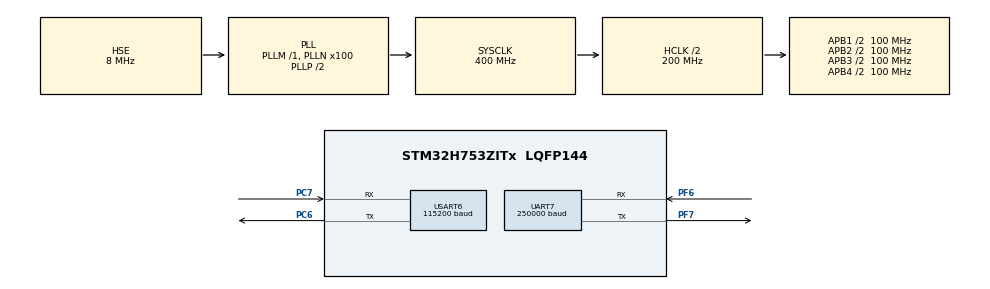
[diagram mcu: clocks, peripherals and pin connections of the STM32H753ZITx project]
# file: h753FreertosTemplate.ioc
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CORTEX_M7.AccessPermission_S-Cortex_Memory_Protection_Unit_Region1_Settings_S=MPU_REGION_FULL_ACCESS
CORTEX_M7.AccessPermission_S-Cortex_Memory_Protection_Unit_Region2_Settings_S=MPU_REGION_FULL_ACCESS
CORTEX_M7.AccessPermission_S-Cortex_Memory_Protection_Unit_Region3_Settings_S=MPU_REGION_FULL_ACCESS
CORTEX_M7.AccessPermission_S-Cortex_Memory_Protection_Unit_Region4_Settings_S=MPU_REGION_FULL_ACCESS
CORTEX_M7.AccessPermission_Spec=MPU_REGION_FULL_ACCESS
CORTEX_M7.BaseAddress_S-Cortex_Memory_Protection_Unit_Region1_Settings_S=0x30000000
CORTEX_M7.BaseAddress_S-Cortex_Memory_Protection_Unit_Region2_Settings_S=0x30020000
CORTEX_M7.BaseAddress_S-Cortex_Memory_Protection_Unit_Region3_Settings_S=0x30040000
CORTEX_M7.BaseAddress_S-Cortex_Memory_Protection_Unit_Region4_Settings_S=0x38000000
CORTEX_M7.BaseAddress_Spec=0x24000000
CORTEX_M7.CPU_DCache=Enabled
CORTEX_M7.CPU_ICache=Enabled
CORTEX_M7.DisableExec_Spec=MPU_INSTRUCTION_ACCESS_ENABLE
CORTEX_M7.Enable_S-Cortex_Memory_Protection_Unit_Region1_Settings_S=MPU_REGION_ENABLE
CORTEX_M7.Enable_S-Cortex_Memory_Protection_Unit_Region2_Settings_S=MPU_REGION_ENABLE
CORTEX_M7.Enable_S-Cortex_Memory_Protection_Unit_Region3_Settings_S=MPU_REGION_ENABLE
CORTEX_M7.Enable_S-Cortex_Memory_Protection_Unit_Region4_Settings_S=MPU_REGION_ENABLE
CORTEX_M7.IsBufferable_S-Cortex_Memory_Protection_Unit_Region1_Settings_S=MPU_ACCESS_NOT_BUFFERABLE
CORTEX_M7.IsBufferable_S-Cortex_Memory_Protection_Unit_Region2_Settings_S=MPU_ACCESS_NOT_BUFFERABLE
CORTEX_M7.IsBufferable_Spec=MPU_ACCESS_BUFFERABLE
CORTEX_M7.IsCacheable_S-Cortex_Memory_Protection_Unit_Region1_Settings_S=MPU_ACCESS_CACHEABLE
CORTEX_M7.IsCacheable_S-Cortex_Memory_Protection_Unit_Region2_Settings_S=MPU_ACCESS_CACHEABLE
CORTEX_M7.IsCacheable_S-Cortex_Memory_Protection_Unit_Region3_Settings_S=MPU_ACCESS_CACHEABLE
CORTEX_M7.IsCacheable_S-Cortex_Memory_Protection_Unit_Region4_Settings_S=MPU_ACCESS_CACHEABLE
CORTEX_M7.IsCacheable_Spec=MPU_ACCESS_CACHEABLE
CORTEX_M7.IsShareable_Spec=MPU_ACCESS_NOT_SHAREABLE
CORTEX_M7.Size_S-Cortex_Memory_Protection_Unit_Region1_Settings_S=MPU_REGION_SIZE_128KB
CORTEX_M7.Size_S-Cortex_Memory_Protection_Unit_Region2_Settings_S=MPU_REGION_SIZE_128KB
CORTEX_M7.Size_S-Cortex_Memory_Protection_Unit_Region3_Settings_S=MPU_REGION_SIZE_32KB
CORTEX_M7.Size_S-Cortex_Memory_Protection_Unit_Region4_Settings_S=MPU_REGION_SIZE_64KB
CORTEX_M7.Size_Spec=MPU_REGION_SIZE_512KB
CORTEX_M7.SubRegionDisable_Spec=0x00
CORTEX_M7.TypeExtField_S-Cortex_Memory_Protection_Unit_Region1_Settings_S=MPU_TEX_LEVEL0
CORTEX_M7.TypeExtField_S-Cortex_Memory_Protection_Unit_Region2_Settings_S=MPU_TEX_LEVEL0
CORTEX_M7.TypeExtField_Spec=MPU_TEX_LEVEL1
CORTEX_M7.default_mode_Activation=1
Dma.Request0=USART6_RX
Dma.Request1=USART6_TX
Dma.Request2=UART7_RX
Dma.Request3=UART7_TX
Dma.UART7_RX.2.Direction=DMA_PERIPH_TO_MEMORY
Dma.UART7_RX.2.EventEnable=DISABLE
Dma.UART7_RX.2.FIFOMode=DMA_FIFOMODE_DISABLE
Dma.UART7_RX.2.Instance=DMA1_Stream2
Dma.UART7_RX.2.MemDataAlignment=DMA_MDATAALIGN_BYTE
Dma.UART7_RX.2.MemInc=DMA_MINC_ENABLE
Dma.UART7_RX.2.Mode=DMA_CIRCULAR
Dma.UART7_RX.2.PeriphDataAlignment=DMA_PDATAALIGN_BYTE
Dma.UART7_RX.2.PeriphInc=DMA_PINC_DISABLE
Dma.UART7_RX.2.Polarity=HAL_DMAMUX_REQ_GEN_RISING
Dma.UART7_RX.2.Priority=DMA_PRIORITY_MEDIUM
Dma.UART7_RX.2.RequestNumber=1
Dma.UART7_RX.2.SignalID=NONE
Dma.UART7_RX.2.SyncEnable=DISABLE
Dma.UART7_RX.2.SyncPolarity=HAL_DMAMUX_SYNC_NO_EVENT
Dma.UART7_RX.2.SyncRequestNumber=1
Dma.UART7_RX.2.SyncSignalID=NONE
Dma.UART7_TX.3.Direction=DMA_MEMORY_TO_PERIPH
Dma.UART7_TX.3.EventEnable=DISABLE
Dma.UART7_TX.3.FIFOMode=DMA_FIFOMODE_DISABLE
Dma.UART7_TX.3.Instance=DMA1_Stream3
Dma.UART7_TX.3.MemDataAlignment=DMA_MDATAALIGN_BYTE
Dma.UART7_TX.3.MemInc=DMA_MINC_ENABLE
Dma.UART7_TX.3.Mode=DMA_NORMAL
Dma.UART7_TX.3.PeriphDataAlignment=DMA_PDATAALIGN_BYTE
Dma.UART7_TX.3.PeriphInc=DMA_PINC_DISABLE
Dma.UART7_TX.3.Polarity=HAL_DMAMUX_REQ_GEN_RISING
Dma.UART7_TX.3.Priority=DMA_PRIORITY_LOW
Dma.UART7_TX.3.RequestNumber=1
Dma.UART7_TX.3.SignalID=NONE
Dma.UART7_TX.3.SyncEnable=DISABLE
Dma.UART7_TX.3.SyncPolarity=HAL_DMAMUX_SYNC_NO_EVENT
Dma.UART7_TX.3.SyncRequestNumber=1
Dma.UART7_TX.3.SyncSignalID=NONE
Dma.USART6_RX.0.Direction=DMA_PERIPH_TO_MEMORY
Dma.USART6_RX.0.EventEnable=DISABLE
Dma.USART6_RX.0.FIFOMode=DMA_FIFOMODE_DISABLE
Dma.USART6_RX.0.Instance=DMA1_Stream0
Dma.USART6_RX.0.MemDataAlignment=DMA_MDATAALIGN_BYTE
Dma.USART6_RX.0.MemInc=DMA_MINC_ENABLE
Dma.USART6_RX.0.Mode=DMA_CIRCULAR
Dma.USART6_RX.0.PeriphDataAlignment=DMA_PDATAALIGN_BYTE
Dma.USART6_RX.0.PeriphInc=DMA_PINC_DISABLE
Dma.USART6_RX.0.Polarity=HAL_DMAMUX_REQ_GEN_RISING
Dma.USART6_RX.0.Priority=DMA_PRIORITY_MEDIUM
Dma.USART6_RX.0.RequestNumber=1
Dma.USART6_RX.0.SignalID=NONE
Dma.USART6_RX.0.SyncEnable=DISABLE
Dma.USART6_RX.0.SyncPolarity=HAL_DMAMUX_SYNC_NO_EVENT
Dma.USART6_RX.0.SyncRequestNumber=1
Dma.USART6_RX.0.SyncSignalID=NONE
Dma.USART6_TX.1.Direction=DMA_MEMORY_TO_PERIPH
Dma.USART6_TX.1.EventEnable=DISABLE
Dma.USART6_TX.1.FIFOMode=DMA_FIFOMODE_DISABLE
Dma.USART6_TX.1.Instance=DMA1_Stream1
Dma.USART6_TX.1.MemDataAlignment=DMA_MDATAALIGN_BYTE
Dma.USART6_TX.1.MemInc=DMA_MINC_ENABLE
Dma.USART6_TX.1.Mode=DMA_NORMAL
Dma.USART6_TX.1.PeriphDataAlignment=DMA_PDATAALIGN_BYTE
Dma.USART6_TX.1.PeriphInc=DMA_PINC_DISABLE
Dma.USART6_TX.1.Polarity=HAL_DMAMUX_REQ_GEN_RISING
Dma.USART6_TX.1.Priority=DMA_PRIORITY_LOW
Dma.USART6_TX.1.RequestNumber=1
Dma.USART6_TX.1.SignalID=NONE
Dma.USART6_TX.1.SyncEnable=DISABLE
Dma.USART6_TX.1.SyncPolarity=HAL_DMAMUX_SYNC_NO_EVENT
Dma.USART6_TX.1.SyncRequestNumber=1
Dma.USART6_TX.1.SyncSignalID=NONE
FREERTOS.INCLUDE_xEventGroupSetBitFromISR=1
FREERTOS.Tasks01=defaultTask,24,128,StartDefaultTask,Default,NULL,Dynamic,NULL,NULL
FREERTOS.configCHECK_FOR_STACK_OVERFLOW=1
FREERTOS.configGENERATE_RUN_TIME_STATS=1
FREERTOS.configLIBRARY_MAX_SYSCALL_INTERRUPT_PRIORITY=1
FREERTOS.configTIMER_QUEUE_LENGTH=20
FREERTOS.configTIMER_TASK_PRIORITY=5
FREERTOS.configUSE_STATS_FORMATTING_FUNCTIONS=1
Mcu.Family=STM32H7
Mcu.Name=STM32H753ZITx
Mcu.Package=LQFP144
NVIC.DMA1_Stream0_IRQn=true\:1\:0\:false\:false\:true\:true\:false\:true\:true
NVIC.DMA1_Stream1_IRQn=true\:1\:0\:false\:false\:true\:true\:false\:true\:true
NVIC.DMA1_Stream2_IRQn=true\:1\:0\:false\:false\:true\:true\:false\:true\:true
NVIC.DMA1_Stream3_IRQn=true\:1\:0\:false\:false\:true\:true\:false\:true\:true
NVIC.PriorityGroup=NVIC_PRIORITYGROUP_4
NVIC.TIM15_IRQn=true\:3\:0\:true\:false\:true\:true\:true\:true\:true
NVIC.TIM16_IRQn=true\:3\:0\:true\:false\:true\:true\:true\:true\:true
NVIC.TIM17_IRQn=true\:3\:0\:true\:false\:true\:true\:true\:true\:true
NVIC.TIM6_DAC_IRQn=true\:15\:0\:false\:false\:true\:false\:false\:true\:true
NVIC.TimeBase=TIM6_DAC_IRQn
NVIC.TimeBaseIP=TIM6
NVIC.UART7_IRQn=true\:1\:0\:false\:false\:true\:true\:true\:true\:true
NVIC.USART6_IRQn=true\:1\:0\:false\:false\:true\:true\:true\:true\:true
PC6.Mode=Asynchronous
PC6.Signal=USART6_TX
PC7.Mode=Asynchronous
PC7.Signal=USART6_RX
PF6.Mode=Asynchronous
PF6.Signal=UART7_RX
PF7.Mode=Asynchronous
PF7.Signal=UART7_TX
PH0-OSC_IN\ (PH0).Mode=HSE-External-Oscillator
PH0-OSC_IN\ (PH0).Signal=RCC_OSC_IN
PH1-OSC_OUT\ (PH1).Mode=HSE-External-Oscillator
PH1-OSC_OUT\ (PH1).Signal=RCC_OSC_OUT
ProjectManager.HeapSize=0x200
ProjectManager.StackSize=0x400
ProjectManager.TargetToolchain=EWARM V8.50
RCC.ADCFreq_Value=16125000
RCC.APB1Freq_Value=100000000
RCC.APB2Freq_Value=100000000
RCC.APB3Freq_Value=100000000
RCC.APB4Freq_Value=100000000
RCC.CortexFreq_Value=400000000
RCC.D1PPRE=RCC_APB3_DIV2
RCC.D2PPRE1=RCC_APB1_DIV2
RCC.D2PPRE2=RCC_APB2_DIV2
RCC.D3PPRE=RCC_APB4_DIV2
RCC.DIVM1=1
RCC.DIVN1=100
RCC.HCLKFreq_Value=200000000
RCC.HPRE=RCC_HCLK_DIV2
RCC.HSE_VALUE=8000000
RCC.PLLFRACN=0
RCC.PLLSourceVirtual=RCC_PLLSOURCE_HSE
RCC.SYSCLKFreq_VALUE=400000000
RCC.SYSCLKSource=RCC_SYSCLKSOURCE_PLLCLK
RCC.USBFreq_Value=400000000
TIM15.Period=5000
TIM15.Prescaler=100
TIM16.Period=5000
TIM16.Prescaler=100
TIM17.Period=5000
TIM17.Prescaler=100
UART7.BaudRate=250000
UART7.StopBits=UART_STOPBITS_2
USART6.BaudRate=115200
USART6.VirtualMode-Asynchronous=VM_ASYNC
VP_FREERTOS_VS_CMSIS_V2.Mode=CMSIS_V2
VP_MEMORYMAP_VS_MEMORYMAP.Mode=CurAppReg
VP_SYS_VS_tim6.Mode=TIM6
VP_TIM15_VS_ClockSourceINT.Mode=Internal
VP_TIM16_VS_ClockSourceINT.Mode=Enable_Timer
VP_TIM17_VS_ClockSourceINT.Mode=Enable_Timer
board=custom

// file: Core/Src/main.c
/* USER CODE BEGIN Header */
/**
  ******************************************************************************
  * @file           : main.c
  * @brief          : Main program body
  ******************************************************************************
  * @attention
  *
  * Copyright (c) 2024 STMicroelectronics.
  * All rights reserved.
  *
  * This software is licensed under terms that can be found in the LICENSE file
  * in the root directory of this software component.
  * If no LICENSE file comes with this software, it is provided AS-IS.
  *
  ******************************************************************************
  */
/* USER CODE END Header */
#include "main.h"
#include "cmsis_os.h"
#include "dma.h"
#include "memorymap.h"
#include "tim.h"
#include "usart.h"
#include "gpio.h"

/* USER CODE BEGIN Includes */
#include "FreeRTOS.h"
#include "task.h"
#include "stm32h7xx_nucleo.h"
#include "croutine.h"
#include "timerForDebug.h"
#include "iwdg.h"
#include "wwdg.h"
#include "delay.h"
#include "rtc_timeStamp.h"
#include "bootLoader.h"
#include "cpu_flash.h"
#include "queue.h"
#include "stm32h7xx.h"
#include "event_groups.h"
#include "semphr.h"
#include <string.h>
#include <stdio.h>
/* USER CODE END Includes */

/* USER CODE BEGIN PTD */
/* 定义�?512KB AXI SRAM里面的变�? */
#pragma location = ".RAM_D1"
uint32_t AXISRAMBuf[10];
#pragma location = ".RAM_D1"
uint16_t AXISRAMCount;

/* 定义�?128KB SRAM1(0x30000000) + 128KB SRAM2(0x30020000) + 32KB SRAM3(0x30040000)里面的变�? */
#pragma location = ".RAM_D2"
uint32_t D2SRAMBuf[10];
#pragma location = ".RAM_D2"
uint16_t D2SRAMCount;

/* 定义�?64KB SRAM4(0x38000000)里面的变�? */
#pragma location = ".RAM_D3"
uint32_t D3SRAMBuf[10];
#pragma location = ".RAM_D3"
uint16_t D3SRAMCount;

#pragma location = ".RAM_BKP"
uint32_t BKPSRAMBuf[10];
#pragma location = ".RAM_BKP"
uint16_t BKPSRAMCount;

/*
   1、将�?个扇区的空间预留出来做为参数区，这里是将�?2个扇区作为参数区�?
      默认情况下不要将�?1个扇区做参数区，因为�?1个扇区是默认的boot启动地址�?
   2、�?�过这种定义方式告诉编译器，此空间已经被占用，不让编译器再为这个空间编写程序�?
*/
#pragma location=0x08000000 + 128*1024
const uint8_t para_flash_area[128 * 1024];
/* USER CODE END PTD */

/* USER CODE BEGIN PM */
extern IWDG_HandleTypeDef IwdgHandle;
extern WWDG_HandleTypeDef   WwdgHandle;
extern uint32_t wwdgDelayNum;
/* USER CODE END PM */

/* USER CODE BEGIN PV */
typedef struct
{
  uint8_t ParamVer;
  uint16_t ucBackLight;
  uint32_t Baud485;
  float ucRadioMode;
}PARAM_T;
/* USER CODE END PV */

void SystemClock_Config(void);
static void MPU_Config(void);
void MX_FREERTOS_Init(void);
/* USER CODE BEGIN PFP */
static void vTaskTaskUserIF(void *pvParameters);
static void vTaskLED(void *pvParameters);
static void vTaskMsgPro(void *pvParameters);
static void vTaskStart(void *pvParameters);
static void AppTaskCreate (void);
static void vTaskIwdg(void *pvParameters);
static void vTaskWwdg(void *pvParameters);
//static void vTaskMsgPro2(void *pvParameters);

static TaskHandle_t xHandleTaskUserIF = NULL;
static TaskHandle_t xHandleTaskLED = NULL;
static TaskHandle_t xHandleTaskMsgPro = NULL;
static TaskHandle_t xHandleTaskStart = NULL;
static TaskHandle_t xHandleTaskIwdg = NULL;
static TaskHandle_t xHandleTaskWwdg = NULL;
//static TaskHandle_t xHandleTaskMsgPro2 = NULL;

static EventGroupHandle_t xHandleEventGroup;

static QueueHandle_t xQueue1 = NULL;
static QueueHandle_t xQueue2 = NULL;
static QueueHandle_t xQueue3 = NULL;

static SemaphoreHandle_t xHandleSemaphoreCounting = NULL;
static SemaphoreHandle_t xHandleSemaphoreBinary = NULL;
static SemaphoreHandle_t xHandleSemaphoreMutex = NULL;

typedef struct Msg
{
  uint8_t ucMessageID;
  uint16_t usData[2];
  uint32_t ulData[2];
}MSG_T;

MSG_T   g_tMsg;

uint32_t UserButtonStatus = 0;  /* set to 1 after User Button interrupt  */

TimerHandle_t xTimers[2];
/* USER CODE END PFP */

/* USER CODE BEGIN 0 */

static void vTimerCallback(xTimerHandle pxTimer)
{
    uint32_t ulTimerID;

    ulTimerID = (uint32_t)pvTimerGetTimerID(pxTimer);

    if(ulTimerID == 0)
    {
      //printf("software timer 0\r\n");
    }

    if(ulTimerID == 1)
    {
      //printf("software timer 1\r\n");
    }
}

static void AppObjCreate(void)
{
  /*用于测试动态内存分配的消息队列*/
  xQueue3 = xQueueCreate(10, sizeof(struct Msg *));
  if(xQueue3 == NULL)
  {
    printf("create xQueue3 failed\r\n");
  }
  else
  {
    printf("create xQueue3 success\r\n");
  }

  /*初始化1个信号量可用资源*/
  xHandleSemaphoreCounting = xSemaphoreCreateCounting(1,0);

  /*创建二值信号量*/
  xHandleSemaphoreBinary = xSemaphoreCreateBinary();

  /*创建互斥锁*/
  xHandleSemaphoreMutex = xSemaphoreCreateMutex();

  if(xHandleSemaphoreCounting == NULL)
  {
    printf("create counting semaphore failed\r\n");
  }

  if(xHandleSemaphoreBinary == NULL)
  {
    printf("create binary semaphore failed\r\n");
  }
  else
  {
    /*先释放一次*/
    xSemaphoreGive(xHandleSemaphoreBinary);
  }

  if(xHandleSemaphoreMutex == NULL)
  {
    printf("create mutex semaphore failed\r\n");
  }

  /*创建10个uint8_t型的消息队列*/
  xQueue1 = xQueueCreate(10, sizeof(uint8_t));
  if(xQueue1 == NULL)
  {
    printf("create xQueue1 failed\r\n");
  }
  else
  {
    printf("create xQueue1 success\r\n");
  }
  /*创建10个存储指针变量的消息队列*/
  xQueue2 = xQueueCreate(10, sizeof(struct Msg *));
  if(xQueue2 == NULL)
  {
    printf("create xQueue2 failed\r\n");
  }
  else
  {
    printf("create xQueue2 success\r\n");
  }
  /*创建软件定时器*/
  uint8_t i;
  const TickType_t xTimerPer[2] = {1000, 1000};

  for(i = 0; i < 2; i++)
  {
    xTimers[i] = xTimerCreate("Timer",                  /*定时器名字*/
                              xTimerPer[i],             /*定时器周期，单位时钟节拍*/
                              pdTRUE,                   /*周期性*/
                              (void *)i,                /*定时器ID*/
                              vTimerCallback);          /*定时器回调函数*/

    if(xTimers[i] == NULL)
    {
      printf("create software timer failed , ID = %d\r\n", i);
    }
    else
    {
      if(xTimerStart(xTimers[i], 100) != pdPASS)
      {
        printf("timer start failed, ID = %d\r\n", i);
      }
    }
  }
  /*创建事件标志组*/
  xHandleEventGroup = xEventGroupCreate();

  if(xHandleEventGroup == NULL)
  {
    /*事件标志组没有创建成功*/
    printf("xEventGroupCreate failed\r\n");
  }
}

/*
*********************************************************************************************************
* �? �? �?: vTaskTaskUserIF
* 功能说明: 接口消息处理，这里用�? LED 闪烁
* �? �?: pvParameters 是在创建该任务时传�?�的形参
* �? �? �?: �?
* �? �? �?: 1 (数�?�越小优先级越低，这个跟 uCOS 相反)
*********************************************************************************************************
*/
static void vTaskTaskUserIF(void *pvParameters)
{

  uint8_t pcWriteBuffer[500];
  EventBits_t uxBits;

  uint8_t ucCount = 0;

  MSG_T *ptMsg;

  ptMsg = &g_tMsg;
  ptMsg->ucMessageID = 0;
  ptMsg->ulData[0] = 0;
  ptMsg->usData[0] = 0;
  //uint8_t buff[2048];

  while(1)
  {

    if(UserButtonStatus == 1)
    {
      //UserButtonStatus = 0;
      //xSemaphoreTake(xHandleSemaphoreMutex, portMAX_DELAY);
      printf("============================================================\r\n");
      printf("TaskName TaskStatus Priority RemainStack TaskID\r\n");
      vTaskList((char *)pcWriteBuffer);
      printf("%s\r\n", pcWriteBuffer);

      printf("\r\nTaskName      RunCount       Usage\r\n");
      vTaskGetRunTimeStats((char *)pcWriteBuffer);
      printf("%s\r\n", pcWriteBuffer);

      RTC_CalendarShow();

      AXISRAMBuf[0] = AXISRAMCount++;
      AXISRAMBuf[5] = AXISRAMCount++;
      AXISRAMBuf[9] = AXISRAMCount++;
      printf("UserButtonStatus = 1, AXISRAMBuf[0] = %d, AXISRAMBuf[5] = %d, AXISRAMBuf[9] = %d\r\n",AXISRAMBuf[0], AXISRAMBuf[5], AXISRAMBuf[9]);
      //xSemaphoreGive(xHandleSemaphoreMutex);

    }
    else if(UserButtonStatus == 2)
    {
      //xSemaphoreTake(xHandleSemaphoreMutex, portMAX_DELAY);
      printf("UserButtonStatus = 2\r\ndelete led task\r\n");
      if(xHandleTaskLED != NULL)
      {
        vTaskDelete(xHandleTaskLED);
        xHandleTaskLED = NULL;
      }

      D2SRAMBuf[0] = D2SRAMCount++;
      D2SRAMBuf[5] = D2SRAMCount++;
      D2SRAMBuf[9] = D2SRAMCount++;
      printf("UserButtonStatus = 2, D2SRAMBuf[0] = %d, D2SRAMBuf[5] = %d, D2SRAMBuf[9] = %d\r\n",D2SRAMBuf[0], D2SRAMBuf[5], D2SRAMBuf[9]);

      printf("UserButtonStatus = 2, send semaphore to vTaskMsgPro\r\n");
      //xSemaphoreGive(xHandleSemaphoreMutex);
      xSemaphoreGive(xHandleSemaphoreCounting);
      printf("UserButtonStatus = 2, send MUTEX to vTaskStart\r\n");
      xTaskNotifyGive(xHandleTaskStart);
    }
    else if(UserButtonStatus == 3)
    {
      //xSemaphoreTake(xHandleSemaphoreMutex, portMAX_DELAY);
      printf("UserButtonStatus = 3\r\ncreate led task\r\n");
      if(xHandleTaskLED == NULL)
      {
        xTaskCreate(  vTaskLED,
                        "vTaskLED",
                        512,
                        NULL,
                        2,
                        &xHandleTaskLED);
      }
      D3SRAMBuf[0] = D3SRAMCount++;
      D3SRAMBuf[5] = D3SRAMCount++;
      D3SRAMBuf[9] = D3SRAMCount++;
      printf("UserButtonStatus = 3, D3SRAMBuf[0] = %d, D3SRAMBuf[5] = %d, D3SRAMBuf[9] = %d\r\n",D3SRAMBuf[0], D3SRAMBuf[5], D3SRAMBuf[9]);
      printf("***********************************************************************************\r\n");
      printf("UserButtonStatus = 3, send task notify give to xHandleTaskMsgPro\r\n");
      xTaskNotifyGive(xHandleTaskMsgPro);
      //xSemaphoreGive(xHandleSemaphoreMutex);
    }
    else if(UserButtonStatus == 4)
    {
      taskENTER_CRITICAL();
      printf("UserButtonStatus = 4\r\nsuspend led task\r\n");
      vTaskSuspend(xHandleTaskLED);
      BKPSRAMBuf[0] = BKPSRAMCount++;
      BKPSRAMBuf[5] = BKPSRAMCount++;
      BKPSRAMBuf[9] = BKPSRAMCount++;
      printf("UserButtonStatus = 3, BKPSRAMBuf[0] = %d, BKPSRAMBuf[5] = %d, BKPSRAMBuf[9] = %d\r\n",BKPSRAMBuf[0], BKPSRAMBuf[5], BKPSRAMBuf[9]);
      taskEXIT_CRITICAL();

    }
    else if(UserButtonStatus == 5)
    {
      printf("UserButtonStatus = 5\r\nresume led task\r\n");
      HAL_TIM_Base_Start_IT(&htim17);
      //vTaskResume(xHandleTaskLED);
    }
    else if(UserButtonStatus == 6)
    {
      /*
      uxBits = xEventGroupSetBits(xHandleEventGroup, SET_BIT_0);
      if((uxBits & SET_BIT_0) != 0)
      {
        printf("UserButtonStatus = 6, event group bit 0 was setted\r\n");
      }
      else
      {
        printf("UserButtonStatus = 6, event group bit 0 was not setted\r\n");
      }
      */
      //printf("UserButtonStatus = 6\r\nsuspend iwdg feed task\r\n");
      //vTaskSuspend(xHandleTaskIwdg);
    }
    else if(UserButtonStatus == 7)
    {
      /*
      uxBits = xEventGroupSetBits(xHandleEventGroup, SET_BIT_1);
      if((uxBits & SET_BIT_1) != 0)
      {
        printf("UserButtonStatus = 7, event group bit 1 was setted\r\n");
      }
      else
      {
        printf("UserButtonStatus = 7, event group bit 1 was not setted\r\n");
      }
      */
      vTaskResume(xHandleTaskStart);
      //printf("UserButtonStatus = 7\r\nresume iwdg feed task\r\n");
      //vTaskResume(xHandleTaskIwdg);
    }
    else if(UserButtonStatus == 8)
    {
      vTaskSuspendAll(); /*开启调度锁*/
      uxBits = xEventGroupSetBits(xHandleEventGroup, SET_BIT_0);
      if((uxBits & SET_BIT_0) != 0)
      {
        printf("UserButtonStatus = 8, event group bit 0 was setted\r\n");
      }
      else
      {
        printf("UserButtonStatus = 8, event group bit 0 was not setted\r\n");
      }
      uxBits = xEventGroupSetBits(xHandleEventGroup, SET_BIT_1);
      if((uxBits & SET_BIT_1) != 0)
      {
        printf("UserButtonStatus = 8, event group bit 1 was setted\r\n");
      }
      else
      {
        printf("UserButtonStatus = 8, event group bit 1 was not setted\r\n");
      }
      if(xTaskResumeAll() == pdTRUE) /*关闭调度锁，如果需要任务切换，此函数返回pdTRUE*/
      {
        taskYIELD();
      }
      //printf("UserButtonStatus = 8\r\nsuspend wwdg feed task\r\n");
      //vTaskSuspend(xHandleTaskWwdg);
    }
    else if(UserButtonStatus == 9)
    {
      ucCount++;
      if(xQueueSend(xQueue1,
                    (void *) &ucCount,
                    (TickType_t)10) != pdPASS)
      {
        /*发送失败*/
        printf("UserButtonStatus = 9, xQueue1Send ucCount failed\r\n");
      }
      else
      {
        printf("UserButtonStatus = 9, xQueue1Send ucCount success\r\n");
      }
      printf("UserButtonStatus = 9, set vTaskLED priority to 5\r\n");
      vTaskPrioritySet(xHandleTaskLED, 5);
      printf("vTaskLED priority is now setted to %d\r\n", (int)uxTaskPriorityGet(xHandleTaskLED));

      printf("UserButtonStatus = 9, start tim15 for sending event\r\n");
      printf("*********************************************************************\r\n");
      printf("UserButtonStatus = 9, start tim15 for sending semaphore\r\n");
      //printf("*********************************************************************\r\n");
      //printf("UserButtonStatus = 9, start tim15 for sending MUTEX\r\n");
      HAL_TIM_Base_Start_IT(&htim15);
      //printf("UserButtonStatus = 9\r\nresume wwdg feed task\r\n");
      //vTaskResume(xHandleTaskWwdg);
    }
    else if(UserButtonStatus == 10)
    {
      ptMsg->ucMessageID++;
      ptMsg->ulData[0]++;
      ptMsg->usData[0]++;

      if(xQueueSend(xQueue2,
                    (void *)&ptMsg,
                    (TickType_t)10) != pdPASS)
      {
        printf("UserButtonStatus = 10, xQueue2Send MSG_T failed\r\n");
      }
      else
      {
        printf("UserButtonStatus = 10, xQueue2Send MSG_T success\r\n");
      }
      printf("UserButtonStatus = 10, set vTaskLED priority to 1\r\n");
      vTaskPrioritySet(xHandleTaskLED, 1);
      printf("vTaskLED priority is now setted to %d\r\n", (int)uxTaskPriorityGet(xHandleTaskLED));

      printf("UserButtonStatus = 10, start tim16 for sending event\r\n");
      printf("*********************************************************************\r\n");
      printf("UserButtonStatus = 10, start tim6 for sending MUTEX\r\n");
      HAL_TIM_Base_Start_IT(&htim16);
    }
    else if(UserButtonStatus == 11)
    {
        printf("------------------------------------------------------------------\r\n");
        printf("UserButtonStatus = 11, set task notify event group bit 0\r\n");
        xTaskNotify(xHandleTaskWwdg, (1 << 0), eSetBits);

    }
    else if(UserButtonStatus == 12)
    {
        printf("------------------------------------------------------------------\r\n");
        printf("UserButtonStatus = 12, set task notify event group bit 1\r\n");
        xTaskNotify(xHandleTaskWwdg, (1 << 1), eSetBits);
    }
    else if(UserButtonStatus == 13)
    {
        /*按键中断发送BIT2的事件标志*/
    }
    else if(UserButtonStatus == 14)
    {
        ucCount++;
        printf("UserButtonStatus = 14, send task mail 'ucCount = %d' with overwrite to TaskIwdg\r\n", ucCount);
        xTaskNotify(xHandleTaskIwdg, ucCount, eSetValueWithOverwrite);
    }
    else if(UserButtonStatus == 15)
    {
        ucCount++;
        printf("UserButtonStatus = 15, send task mail 'ucCount = %d' without overwrite to TaskIwdg\r\n", ucCount);
        if(xTaskNotify(xHandleTaskIwdg, ucCount, eSetValueWithoutOverwrite) == pdPASS)
        {
          printf("vTaskIwdg message mail is updated\r\n");
        }
        else
        {
          printf("vTaskIwdg message mail can not be updated\r\n");
        }
    }
    else if(UserButtonStatus == 16)
    {
        /*按键中断发送消息邮箱 覆盖方式*/

    }
    else if(UserButtonStatus == 17)
    {
        /*按键中断发送消息邮箱 非覆盖方式*/
    }
    else if(UserButtonStatus == 18)
    {
      printf("current free heap size = %d\r\n", xPortGetFreeHeapSize());
      ptMsg = (MSG_T *)pvPortMalloc(sizeof(MSG_T));
      printf("free heap size after malloc = %d\r\n", xPortGetFreeHeapSize());

      ptMsg->ucMessageID = 88;
      ptMsg->ulData[0] = 89;
      ptMsg->usData[0] = 8;

      if(xQueueSend(xQueue3, (void *)&ptMsg, (TickType_t)10) != pdPASS)
      {
        printf("xQueue3 Sending failed\r\n");
        vPortFree(ptMsg);
        printf("free heap size after free = %d\r\n", xPortGetFreeHeapSize());
      }
      else
      {
        printf("xQueue3 Sending success\r\n");
        vPortFree(ptMsg);
        printf("free heap size after free = %d\r\n", xPortGetFreeHeapSize());
      }

    }
    else if(UserButtonStatus == 19)
    {
        printf("JumpToBootloader\r\n");
        JumpToBootLoader();
    }
    else
    {
      UserButtonStatus = 0;
      printf("UserButtonStatus reset to 0\r\n");
    }
    //xSemaphoreGive(xHandleSemaphoreMutex);
    vTaskSuspend(xHandleTaskUserIF);
    vTaskDelay(20);
  }
}

/*
*********************************************************************************************************
* �? �? �?: vTaskLED
* 功能说明: LED 闪烁
* �? �?: pvParameters 是在创建该任务时传�?�的形参
* �? �? �?: �?
* �? �? �?: 2
*********************************************************************************************************
*/
static void vTaskLED(void *pvParameters)
{
  MSG_T *ptMsg;
  BaseType_t xResult;
  const TickType_t xMaxBlockTime = pdMS_TO_TICKS(200);

  TickType_t xLastWakeTime;
  const TickType_t xFrequency = 1000;

  xLastWakeTime = xTaskGetTickCount();

  while(1)
  {
    //vTaskSuspendAll(); /*开启调度锁*/

    xResult = xQueueReceive(xQueue2,
                            (void *)&ptMsg,
                            (TickType_t)xMaxBlockTime);

    if(xResult == pdPASS)
    {
      //printf("msg queue receive success: ptMsg->ucMessageID = %d\r\n", ptMsg->ucMessageID);
      //printf("msg queue receive success: ptMsg->usData[0] = %d\r\n", ptMsg->usData[0]);
      //printf("msg queue receive success: ptMsg->ulData[0] = %d\r\n", ptMsg->ulData[0]);

    }
    else
    {
      //printf("receive queue2 msg failed\r\n");
    }

    xResult = xQueueReceive(xQueue2,
                            (void *)&ptMsg,
                            (TickType_t)xMaxBlockTime);

    if(xResult == pdPASS)
    {
      //printf("======================================================================================\r\n");
      //printf("msg queue receive success: ptMsg->ucMessageID = %d\r\n", ptMsg->ucMessageID);
      //printf("msg queue receive success: ptMsg->usData[1] = %d\r\n", ptMsg->usData[1]);
      //printf("msg queue receive success: ptMsg->ulData[1] = %d\r\n", ptMsg->ulData[1]);
    }
    else
    {
      //printf("receive queue2 msg failed\r\n");
    }

    //printf("now suspend all, vTaskLED working\r\n");
    //printf("xLastWakeTime = %d\r\n", xLastWakeTime);
    BSP_LED_Toggle(LED1);
    //BSP_LED_Toggle(LED2);
    //BSP_LED_Toggle(LED3);
    //RTC_CalendarShow();

#if 0
    if(xTaskResumeAll() == pdTRUE) /*关闭调度锁，如果需要任务切换，此函数返回pdTRUE*/
    {
      taskYIELD();
    }
    printf("after vTaskResumeAll\r\n");
#endif
    vTaskDelayUntil(&xLastWakeTime, xFrequency);

  }
}

/*
*********************************************************************************************************
* �? �? �?: vTaskMsgPro
* 功能说明: 信息处理
* �? �?: pvParameters 是在创建该任务时传�?�的形参
* �? �? �?: �?
* �? �? �?: 3
*********************************************************************************************************
*/
static void vTaskMsgPro(void *pvParameters)
{
  BaseType_t xResult;
  const portTickType xMaxBlockTime = pdMS_TO_TICKS(300); /*设置最大等待时间为300ms*/
  uint8_t ucQueueMsgValue;
  uint8_t uiQueueMsgValue;

  uint32_t ulNotifiedValue;

  static uint8_t frameBuffer[101] = {0};
  memset((char *)(&frameBuffer[1]), '2', 100);
  HAL_UART_Transmit_DMA(&huart6, "uart6 dma transmit success\r\n", strlen("uart6 dma transmit success\r\n"));
  //static uint8_t rcvBuf[5];
  //HAL_UART_Receive_DMA(&huart6, rcvBuf, 5);
  /* Invalidate cache prior to access by CPU */
  //SCB_InvalidateDCache_by_Addr ((uint32_t *)rcvBuf, 5);
  while(1)
  {
    xResult = xQueueReceive(xQueue1,
                            (void *)&ucQueueMsgValue,
                            (TickType_t)xMaxBlockTime);

    if(xResult == pdPASS)
    {
      //printf("receive queue1 msg success\r\n");
      //printf("ucQueueMsgValue = %d\r\n", ucQueueMsgValue);
    }
    else
    {
      //printf("receive queue1 msg failed\r\n");
    }

    xResult = xQueueReceive(xQueue1, (void *)&uiQueueMsgValue, (TickType_t)xMaxBlockTime);

    if(xResult == pdPASS)
    {
      //printf("receive queue1 msg success\r\n");
      //printf("uiQueueMsgValue = %d\r\n", uiQueueMsgValue);
    }
    else
    {
      //printf("receive queue1 msg failed\r\n");
    }

    //HAL_UART_Transmit_DMA(&huart7, "uart7 dma transmit success\r\n", strlen("uart6 dma transmit success\r\n"));
    uart7ModeChange(GPIOMODE);
    HAL_GPIO_WritePin(GPIOF, GPIO_PIN_7, GPIO_PIN_RESET);
    delay_us(88);
    HAL_GPIO_WritePin(GPIOF, GPIO_PIN_7, GPIO_PIN_SET);
    delay_us(8);
    uart7ModeChange(UARTMODE);
    {
      HAL_UART_Transmit(&huart7, frameBuffer, 100, 0xff);
    }

    xResult = xSemaphoreTake(xHandleSemaphoreCounting, (TickType_t)xMaxBlockTime);
    //xSemaphoreTake(xHandleSemaphoreMutex, portMAX_DELAY);
    if(xResult == pdTRUE)
    {
      printf("TaskMsgPro receive semaphore\r\n");
    }
    else
    {
      //printf("TaskMsgPro receive semaphore failed\r\n");
    }

    /*
        第一个参数设置为pdFALSE，任务vTaskMsgPro的TCB（任务控制块）中的变量ulNotifiedValue -1
        设置为pdTRUE就是清零
    */
    ulNotifiedValue = ulTaskNotifyTake(pdFALSE, (TickType_t)xMaxBlockTime);

    if(ulNotifiedValue > 0)
    {
      printf("Task Notify success , ulNotifiedValue = %d\r\n", ulNotifiedValue);
    }

    //xSemaphoreGive(xHandleSemaphoreMutex);
    vTaskDelay(1000);
  }
}

/*
*********************************************************************************************************
* �? �? �?: vTaskStart
* 功能说明: 启动任务，也就是�?高优先级任务，这里用�? LED 闪烁
* �? �?: pvParameters 是在创建该任务时传�?�的形参
* �? �? �?: �?
* �? �? �?: 4
*********************************************************************************************************
*/
static void vTaskStart(void *pvParameters)
{
  //uartDmaTest();
  uint8_t ucTest, *ptr8;
  uint16_t uiTest, *ptr16;
  uint32_t ulTest, *ptr32;
  PARAM_T tPara, *paraPtr;

  tPara.Baud485 = 0x5555AAAA;
  tPara.ParamVer = 0x99;
  tPara.ucBackLight = 0x7788;
  tPara.ucRadioMode = 99.99f;

  while(1)
  {
    if(UserButtonStatus == 6)
    {
      //xSemaphoreTake(xHandleSemaphoreMutex, portMAX_DELAY);
      taskDISABLE_INTERRUPTS();
      eraseCpuFlash((uint32_t)para_flash_area);

      ucTest = 0xAA;
      uiTest = 0x55AA;
      ulTest = 0x11223344;

      writeCpuFlash((uint32_t)para_flash_area, (uint8_t *)&ucTest, sizeof(ucTest));
      writeCpuFlash((uint32_t)para_flash_area + 32, (uint8_t *)&uiTest, sizeof(uiTest));
      writeCpuFlash((uint32_t)para_flash_area + 32 * 2, (uint8_t *)&ulTest, sizeof(ulTest));

      /* 读出数据并打�? */
      ptr8  = (uint8_t  *)(para_flash_area + 32*0);
      ptr16 = (uint16_t *)(para_flash_area + 32*1);
      ptr32 = (uint32_t *)(para_flash_area + 32*2);

      taskENABLE_INTERRUPTS();

      printf("userButtonStatus = 6\r\n");
      printf("write data: ucTest = %x, uiTest = %x, ulTest = %x\r\n", ucTest, uiTest, ulTest);
      printf("read data: ptr8 = %x, ptr16 = %x, ptr32 = %x\r\n", *ptr8, *ptr16, *ptr32);
      vTaskSuspend(xHandleTaskStart);
    }
    else if(UserButtonStatus == 7)
    {
      printf("userButtonStatus = 7\r\n");
      /* 擦除扇区 */
      eraseCpuFlash((uint32_t)para_flash_area);
      writeCpuFlash((uint32_t)para_flash_area, (uint8_t *)&tPara, sizeof(tPara));

      paraPtr = (PARAM_T *)((uint32_t)para_flash_area);

      printf("write data: Baud485=%x, ParamVer=%x, ucBackLight=%x, ucRadioMode=%f\r\n",
              tPara.Baud485,
              tPara.ParamVer,
              tPara.ucBackLight,
              tPara.ucRadioMode);

      printf("read data: Baud485=%x, ParamVer=%x, ucBackLight=%x, ucRadioMode=%f\r\n",
              paraPtr->Baud485,
              paraPtr->ParamVer,
              paraPtr->ucBackLight,
              paraPtr->ucRadioMode);
      vTaskSuspend(xHandleTaskStart);
    }
    //xSemaphoreGive(xHandleSemaphoreMutex);

    else if(UserButtonStatus == 2 | UserButtonStatus == 10)
    {
        ulTaskNotifyTake(pdTRUE, portMAX_DELAY); //设置为pdTRUE直接清零

        printf("vTaskStart receive task notify MUTEX\r\n");
    }

    vTaskDelay(10);
  }
}

static void vTaskIwdg(void *pvParameters)
{
  /*利用vTaskDelay实现vTaskDelayUntil*/
  TickType_t xDelay, xNextTime;
  const TickType_t xFrequency =  1000;

  /*获取第一次唤醒时间*/
  xNextTime = xTaskGetTickCount() + xFrequency;

  BaseType_t xResult;
  uint32_t ulValue;
  const TickType_t xMaxBlockTime = pdMS_TO_TICKS(500);

  while(1)
  {
    xResult = xTaskNotifyWait(0x00000000, 0xFFFFFFFF, &ulValue, xMaxBlockTime);

    if(xResult == pdPASS)
    {
      printf("vTaskIwdg get message from task message email : %d\r\n", ulValue);
    }
    //printf("use vTaskDelay to achieve vTaskDelayUntil(1000)\r\n");
    xDelay = xNextTime - xTaskGetTickCount();
    //计算下次唤醒时间
    xNextTime += xFrequency;

    if(xDelay <= xFrequency)
    {
      vTaskDelay(xDelay);
    }
  }
#if 0
    if(HAL_IWDG_Refresh(&IwdgHandle) != HAL_OK)
    {
      printf("iwdg feed error\r\n");
    }
    else
    {
      //printf("iwdg feed success\r\n");
    }
#endif

}

static void vTaskWwdg(void *pvParameters)
{
  EventBits_t uxBits;
  const TickType_t xTicksToWait = 100  / portTICK_PERIOD_MS;  /*100ms*/
  uint32_t ulValue;
  BaseType_t xResult;

  while(1)
  {
    uxBits = xEventGroupWaitBits(xHandleEventGroup,
                                 SET_BIT_0 | SET_BIT_1, /*等待bit0和bit1被设置*/
                                 pdTRUE,                /*退出前bit0和bit1都被清除*/
                                 pdTRUE,                /*等待bit0和bit1都被设置*/
                                 xTicksToWait);         /*等待延迟时间*/

    if((uxBits & (SET_BIT_0 | SET_BIT_1)) == (SET_BIT_0 | SET_BIT_1))
    {
      printf("receive event group bits: bit 0 and bit 1 was setted\r\n");
      BSP_LED_Toggle(LED2);
    }
    else
    {
      //printf("run overtime or bit not setted\r\n");
      //BSP_LED_Toggle(LED3);
    }

    xResult = xTaskNotifyWait(0x00000000, 0xFFFFFFFF, &ulValue, xTicksToWait);

    if(xResult == pdPASS)
    {
          if((ulValue & (1 << 0)) != 0)
          {
            printf("receive msg from task events group bit 0, ulNotifiedValue = 0x%08x\r\n", ulValue);
          }

          if((ulValue & (1 << 1)) != 0)
          {
            printf("receive msg from task events group bit 1, ulNotifiedValue = 0x%08x\r\n", ulValue);
          }

          if((ulValue & (1 << 2)) != 0)
          {
            printf("receive msg from task events group bit 2, ulNotifiedValue = 0x%08x\r\n", ulValue);
          }

    }

       MSG_T *ptMsg;
       BaseType_t xResult;
       const TickType_t xMaxBlockTime = pdMS_TO_TICKS(200);

       xResult = xQueueReceive(xQueue3, (void *)&ptMsg, (TickType_t)xMaxBlockTime);

       if(xResult == pdPASS)
       {
            printf("UserButtonStatus = 18, ptMsg->usMessageID = %d\r\n", ptMsg->ucMessageID);
            printf("UserButtonStatus = 18, ptMsg->ulData[0] = %d\r\n", ptMsg->ulData[0]);
            printf("UserButtonStatus = 18, ptMsg->usData[0] = %d\r\n", ptMsg->usData[0]);
       }
       else
       {

       }

    vTaskDelay(1);
#if 0
    vTaskDelay(wwdgDelayNum);
    if(HAL_WWDG_Refresh(&WwdgHandle) != HAL_OK)
    {
      printf("Wwdg feed error\r\n");
    }
    else
    {
      //printf("Wwdg feed success\r\n");
    }
#endif

  }
}

#if 0
static void vTaskMsgPro2(void *pvParameters)
{
  while(1)
  {
    printf("vTaskMsgPro2 sending\r\n");
    vTaskDelay(1000);
  }
}
#endif

static void AppTaskCreate(void)
{
  xTaskCreate(vTaskTaskUserIF,          /*任务函数*/
              "vTaskUserIF",            /*任务�?*/
              512,                      /*stack大小，单位word，也就是4字节*/
              NULL,                     /*任务参数*/
                3,                        /*任务优先�?*/
              &xHandleTaskUserIF);      /*任务句柄*/

  xTaskCreate(vTaskLED,          /*任务函数*/
            "vTaskLED",              /*任务�?*/
            512,                       /*stack大小，单位word，也就是4字节*/
            NULL,                      /*任务参数*/
            2,                         /*任务优先�?*/
            &xHandleTaskLED);       /*任务句柄*/

  xTaskCreate(vTaskMsgPro,          /*任务函数*/
          "vTaskMsgPro",            /*任务�?*/
          512,                      /*stack大小，单位word，也就是4字节*/
          NULL,                     /*任务参数*/
          3,                        /*任务优先�?*/
          &xHandleTaskMsgPro);      /*任务句柄*/

  xTaskCreate(vTaskStart,          /*任务函数*/
        "vTaskStart",            /*任务�?*/
        512,                      /*stack大小，单位word，也就是4字节*/
        NULL,                     /*任务参数*/
        4,                        /*任务优先�?*/
        &xHandleTaskStart);      /*任务句柄*/

#if 1
    xTaskCreate(vTaskIwdg,          /*任务函数*/
              "vTaskIwdg",            /*任务�?*/
              512,                      /*stack大小，单位word，也就是4字节*/
              NULL,                     /*任务参数*/
              5,                        /*任务优先�?*/
              &xHandleTaskIwdg);      /*任务句柄*/

    xTaskCreate(vTaskWwdg,
                "vTaskWwdg",
                512,
                NULL,
                5,
                &xHandleTaskWwdg
                );
#endif

#if 0
    xTaskCreate(vTaskMsgPro2,
                "vTaskMsgPro2",
                512,
                NULL,
                5,
                &xHandleTaskMsgPro2
                );
#endif
}

/* USER CODE END 0 */

int main(void)
{

  /* MPU Configuration--------------------------------------------------------*/
  MPU_Config();

  /* Enable the CPU Cache */

  /* Enable I-Cache---------------------------------------------------------*/
  SCB_EnableICache();

  /* Enable D-Cache---------------------------------------------------------*/
  SCB_EnableDCache();

  /* MCU Configuration--------------------------------------------------------*/

  /* Reset of all peripherals, Initializes the Flash interface and the Systick. */
  HAL_Init();

  /* Configure the system clock */
  SystemClock_Config();

  /* Initialize all configured peripherals */
  MX_GPIO_Init();
  MX_DMA_Init();
  MX_USART6_UART_Init();
  MX_UART7_Init();
  MX_TIM17_Init();
  MX_TIM16_Init();
  MX_TIM15_Init();
  /* USER CODE BEGIN 2 */
  //__set_PRIMASK(1);
  COM_InitTypeDef ComInitStruct;
  ComInitStruct.BaudRate = 115200;
  ComInitStruct.HwFlowCtl = COM_HWCONTROL_NONE;
  ComInitStruct.Parity = COM_PARITY_NONE;
  ComInitStruct.StopBits = COM_STOPBITS_1;
  ComInitStruct.WordLength = COM_WORDLENGTH_8B;

  extern UART_HandleTypeDef hcom_uart[COMn];
  BSP_COM_Init(COM1, &ComInitStruct);
  HAL_UART_Transmit(hcom_uart, "stlink uart test\r\n", strlen("stlink uart test\r\n"), 0xff);
  BSP_LED_Init(LED1);
  BSP_LED_Init(LED2);
  BSP_LED_Init(LED3);
  BSP_PB_Init(BUTTON_USER, BUTTON_MODE_EXTI);

  timer4DebugInit();
  //iwdgInit();
  //wwdgInit();
  rtcTimeStampInit();

  /*创建任务*/
  AppTaskCreate();

  AppObjCreate();

  /*启动调度，开始执行任�?*/
  vTaskStartScheduler();
  /* USER CODE END 2 */

  /* Init scheduler */
  //osKernelInitialize();

  /* Call init function for freertos objects (in cmsis_os2.c) */
  //MX_FREERTOS_Init();

  /* Start scheduler */
  //osKernelStart();

  /* We should never get here as control is now taken by the scheduler */

  /* Infinite loop */
  while (1)
  {

  }
}

void SystemClock_Config(void)
{
  RCC_OscInitTypeDef RCC_OscInitStruct = {0};
  RCC_ClkInitTypeDef RCC_ClkInitStruct = {0};

  /** Supply configuration update enable
  */
  HAL_PWREx_ConfigSupply(PWR_LDO_SUPPLY);

  /** Configure the main internal regulator output voltage
  */
  __HAL_PWR_VOLTAGESCALING_CONFIG(PWR_REGULATOR_VOLTAGE_SCALE1);

  while(!__HAL_PWR_GET_FLAG(PWR_FLAG_VOSRDY)) {}

  /** Initializes the RCC Oscillators according to the specified parameters
  * in the RCC_OscInitTypeDef structure.
  */
  RCC_OscInitStruct.OscillatorType = RCC_OSCILLATORTYPE_HSE;
  RCC_OscInitStruct.HSEState = RCC_HSE_ON;
  RCC_OscInitStruct.PLL.PLLState = RCC_PLL_ON;
  RCC_OscInitStruct.PLL.PLLSource = RCC_PLLSOURCE_HSE;
  RCC_OscInitStruct.PLL.PLLM = 1;
  RCC_OscInitStruct.PLL.PLLN = 100;
  RCC_OscInitStruct.PLL.PLLP = 2;
  RCC_OscInitStruct.PLL.PLLQ = 2;
  RCC_OscInitStruct.PLL.PLLR = 2;
  RCC_OscInitStruct.PLL.PLLRGE = RCC_PLL1VCIRANGE_3;
  RCC_OscInitStruct.PLL.PLLVCOSEL = RCC_PLL1VCOWIDE;
  RCC_OscInitStruct.PLL.PLLFRACN = 0;
  if (HAL_RCC_OscConfig(&RCC_OscInitStruct) != HAL_OK)
  {
    Error_Handler();
  }

  /** Initializes the CPU, AHB and APB buses clocks
  */
  RCC_ClkInitStruct.ClockType = RCC_CLOCKTYPE_HCLK|RCC_CLOCKTYPE_SYSCLK
                              |RCC_CLOCKTYPE_PCLK1|RCC_CLOCKTYPE_PCLK2
                              |RCC_CLOCKTYPE_D3PCLK1|RCC_CLOCKTYPE_D1PCLK1;
  RCC_ClkInitStruct.SYSCLKSource = RCC_SYSCLKSOURCE_PLLCLK;
  RCC_ClkInitStruct.SYSCLKDivider = RCC_SYSCLK_DIV1;
  RCC_ClkInitStruct.AHBCLKDivider = RCC_HCLK_DIV2;
  RCC_ClkInitStruct.APB3CLKDivider = RCC_APB3_DIV2;
  RCC_ClkInitStruct.APB1CLKDivider = RCC_APB1_DIV2;
  RCC_ClkInitStruct.APB2CLKDivider = RCC_APB2_DIV2;
  RCC_ClkInitStruct.APB4CLKDivider = RCC_APB4_DIV2;

  if (HAL_RCC_ClockConfig(&RCC_ClkInitStruct, FLASH_LATENCY_2) != HAL_OK)
  {
    Error_Handler();
  }
}

/* USER CODE BEGIN 4 */
/**
  * @brief EXTI line detection callbacks
  * @param GPIO_Pin: Specifies the pins connected EXTI line
  * @retval None
  */
void HAL_GPIO_EXTI_Callback(uint16_t GPIO_Pin)
{
  if(GPIO_Pin == BUTTON_USER_PIN)
  {
    BaseType_t xYieldRequired;
    UserButtonStatus ++;
    xYieldRequired = xTaskResumeFromISR(xHandleTaskUserIF);

    if(xYieldRequired == pdTRUE)
    {
      portYIELD_FROM_ISR(xYieldRequired);
    }

    if(UserButtonStatus == 13)
    {
      BaseType_t xHigherPriorityTaskWoken = pdFALSE;
      printf("UserButtonStatus = 13, set task notify event group bit 2\r\n");
      xTaskNotifyFromISR(xHandleTaskWwdg, (1 << 2), eSetBits, &xHigherPriorityTaskWoken);

      portYIELD_FROM_ISR(xHigherPriorityTaskWoken);
    }
    else if(UserButtonStatus == 16)
    {
        BaseType_t xHigherPriorityTaskWoken = pdFALSE;
        /*按键中断发送消息邮箱 覆盖方式*/
        printf("ISR send task message mail with overwrite 'UserButtonStatus %d'\r\n", UserButtonStatus);
        xTaskNotifyFromISR(xHandleTaskIwdg, UserButtonStatus, eSetValueWithOverwrite, &xHigherPriorityTaskWoken);

        portYIELD_FROM_ISR(xHigherPriorityTaskWoken);
    }
    else if(UserButtonStatus == 17)
    {
        BaseType_t xHigherPriorityTaskWoken = pdFALSE;
        /*按键中断发送消息邮箱 非覆盖方式*/
        printf("ISR send task message mail without overwrite 'UserButtonStatus %d\r\n", UserButtonStatus);
        xTaskNotifyFromISR(xHandleTaskIwdg, UserButtonStatus, eSetValueWithoutOverwrite, &xHigherPriorityTaskWoken);

        portYIELD_FROM_ISR(xHigherPriorityTaskWoken);
    }
  }
}
/* USER CODE END 4 */

 /* MPU Configuration */

void MPU_Config(void)
{
  MPU_Region_InitTypeDef MPU_InitStruct = {0};

  /* Disables the MPU */
  HAL_MPU_Disable();

  /** Initializes and configures the Region and the memory to be protected
  */
  MPU_InitStruct.Enable = MPU_REGION_ENABLE;
  MPU_InitStruct.Number = MPU_REGION_NUMBER0;
  MPU_InitStruct.BaseAddress = 0x24000000;
  MPU_InitStruct.Size = MPU_REGION_SIZE_512KB;
  MPU_InitStruct.SubRegionDisable = 0x00;
  MPU_InitStruct.TypeExtField = MPU_TEX_LEVEL1;
  MPU_InitStruct.AccessPermission = MPU_REGION_FULL_ACCESS;
  MPU_InitStruct.DisableExec = MPU_INSTRUCTION_ACCESS_ENABLE;
  MPU_InitStruct.IsShareable = MPU_ACCESS_NOT_SHAREABLE;
  MPU_InitStruct.IsCacheable = MPU_ACCESS_CACHEABLE;
  MPU_InitStruct.IsBufferable = MPU_ACCESS_BUFFERABLE;

  HAL_MPU_ConfigRegion(&MPU_InitStruct);

  /** Initializes and configures the Region and the memory to be protected
  */
  MPU_InitStruct.Number = MPU_REGION_NUMBER1;
  MPU_InitStruct.BaseAddress = 0x30000000;
  MPU_InitStruct.Size = MPU_REGION_SIZE_128KB;
  MPU_InitStruct.SubRegionDisable = 0x0;
  MPU_InitStruct.TypeExtField = MPU_TEX_LEVEL0;
  MPU_InitStruct.IsBufferable = MPU_ACCESS_NOT_BUFFERABLE;

  HAL_MPU_ConfigRegion(&MPU_InitStruct);

  /** Initializes and configures the Region and the memory to be protected
  */
  MPU_InitStruct.Number = MPU_REGION_NUMBER2;
  MPU_InitStruct.BaseAddress = 0x30020000;

  HAL_MPU_ConfigRegion(&MPU_InitStruct);

  /** Initializes and configures the Region and the memory to be protected
  */
  MPU_InitStruct.Number = MPU_REGION_NUMBER3;
  MPU_InitStruct.BaseAddress = 0x30040000;
  MPU_InitStruct.Size = MPU_REGION_SIZE_32KB;

  HAL_MPU_ConfigRegion(&MPU_InitStruct);

  /** Initializes and configures the Region and the memory to be protected
  */
  MPU_InitStruct.Number = MPU_REGION_NUMBER4;
  MPU_InitStruct.BaseAddress = 0x38000000;
  MPU_InitStruct.Size = MPU_REGION_SIZE_64KB;

  HAL_MPU_ConfigRegion(&MPU_InitStruct);
  /* Enables the MPU */
  HAL_MPU_Enable(MPU_PRIVILEGED_DEFAULT);

}

void HAL_TIM_PeriodElapsedCallback(TIM_HandleTypeDef *htim)
{
  /* USER CODE BEGIN Callback 0 */
  static uint32_t g_uiCount = 0;

  /* USER CODE END Callback 0 */
  if (htim->Instance == TIM6) {
    HAL_IncTick();
  }
  /* USER CODE BEGIN Callback 1 */
  BaseType_t xYieldRequired;
  UBaseType_t uxSavedInterruptStatus;
  if(htim->Instance == TIM17)
  {
    HAL_TIM_Base_Stop_IT(&htim17);
    uxSavedInterruptStatus = portSET_INTERRUPT_MASK_FROM_ISR(); //进入临界区
    {
      printf("HAL_TIM_PeriodElapsedCallback: enter critical area\r\n");
        printf("uxSavedInterruptStatus = %d\r\n", (int)uxSavedInterruptStatus);
    }
    portCLEAR_INTERRUPT_MASK_FROM_ISR(uxSavedInterruptStatus); //退出临界区
    printf("HAL_TIM_PeriodElapsedCallback: exit critical area\r\n");

    xYieldRequired = xTaskResumeFromISR(xHandleTaskLED);

    if(xYieldRequired == pdTRUE)
    {
      printf("ISR Yield required\r\n");
      portYIELD_FROM_ISR(xYieldRequired);
    }

  }

  if(htim->Instance == TIM15)
  {
    BaseType_t xResult;
    BaseType_t xHigherPriorityTaskWoken = pdFALSE;

    HAL_TIM_Base_Stop_IT(&htim15);

    g_uiCount++;

    xQueueSendFromISR(xQueue1, (void *)&g_uiCount, &xHigherPriorityTaskWoken);

    portYIELD_FROM_ISR(xHigherPriorityTaskWoken);

    xResult = xEventGroupSetBitsFromISR(xHandleEventGroup, SET_BIT_0, &xHigherPriorityTaskWoken);

    if(xResult != pdFAIL)
    {
      /*消息被成功发出*/
      printf("TIM15 ISR: set event group bit 0 succeed\r\n");
      portYIELD_FROM_ISR(xHigherPriorityTaskWoken);
    }

    xSemaphoreGiveFromISR(xHandleSemaphoreCounting, &xHigherPriorityTaskWoken);

    portYIELD_FROM_ISR(xHigherPriorityTaskWoken);

    printf("TIM15 send task notify to xHandleTaskMsgPro\r\n");
    vTaskNotifyGiveFromISR(xHandleTaskMsgPro, &xHigherPriorityTaskWoken);

    portYIELD_FROM_ISR(xHigherPriorityTaskWoken);

  }

  if(htim->Instance == TIM16)
  {
    BaseType_t xResult;
    BaseType_t xHigherPriorityTaskWoken = pdFALSE;

    MSG_T *ptMsg;

    HAL_TIM_Base_Stop_IT(&htim16);

    ptMsg->ucMessageID++;
    ptMsg->ulData[1]++;
    ptMsg->usData[1]++;

    xQueueSendFromISR(xQueue2, (void *)&ptMsg, &xHigherPriorityTaskWoken);

    portYIELD_FROM_ISR(xHigherPriorityTaskWoken);

    xResult = xEventGroupSetBitsFromISR(xHandleEventGroup, SET_BIT_1, &xHigherPriorityTaskWoken);

    if(xResult != pdFAIL)
    {
      /*消息被成功发出*/
      portYIELD_FROM_ISR(xHigherPriorityTaskWoken);
    }

    printf("TIM16 send task notify to xHandleTaskMsgPro\r\n");
    vTaskNotifyGiveFromISR(xHandleTaskMsgPro, &xHigherPriorityTaskWoken);

    portYIELD_FROM_ISR(xHigherPriorityTaskWoken);

    printf("TIM16 send task notify MUTEX to xHandleTaskStart\r\n");
    vTaskNotifyGiveFromISR(xHandleTaskStart, &xHigherPriorityTaskWoken);

    portYIELD_FROM_ISR(xHigherPriorityTaskWoken);
  }

  /* USER CODE END Callback 1 */
}

void Error_Handler(void)
{
  __disable_irq();
  while (1)
  {
  }
}

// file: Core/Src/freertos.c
/* USER CODE BEGIN Header */
/**
  ******************************************************************************
  * File Name          : freertos.c
  * Description        : Code for freertos applications
  ******************************************************************************
  * @attention
  *
  * Copyright (c) 2024 STMicroelectronics.
  * All rights reserved.
  *
  * This software is licensed under terms that can be found in the LICENSE file
  * in the root directory of this software component.
  * If no LICENSE file comes with this software, it is provided AS-IS.
  *
  ******************************************************************************
  */
/* USER CODE END Header */

#include "FreeRTOS.h"
#include "task.h"
#include "main.h"
#include "cmsis_os.h"

/* USER CODE BEGIN Includes */
#include "stm32h7xx_nucleo.h"
#include "croutine.h"
#include "timerForDebug.h"
#include <stdio.h>
/* USER CODE END Includes */

/* USER CODE BEGIN PM */
extern volatile  uint32_t ulHighFrequencyTimerTicks;
/* USER CODE END PM */

/* Definitions for defaultTask */
osThreadId_t defaultTaskHandle;
const osThreadAttr_t defaultTask_attributes = {
  .name = "defaultTask",
  .stack_size = 128 * 4,
  .priority = (osPriority_t) osPriorityNormal,
};

void StartDefaultTask(void *argument);

void MX_FREERTOS_Init(void); /* (MISRA C 2004 rule 8.1) */

/* Hook prototypes */
void configureTimerForRunTimeStats(void);
unsigned long getRunTimeCounterValue(void);
void vApplicationStackOverflowHook(xTaskHandle xTask, signed char *pcTaskName);

/* USER CODE BEGIN 1 */
/* Functions needed when configGENERATE_RUN_TIME_STATS is on */
void configureTimerForRunTimeStats(void)
{
    ulHighFrequencyTimerTicks = 0ul;
}

unsigned long getRunTimeCounterValue(void)
{
    return ulHighFrequencyTimerTicks;
}
/* USER CODE END 1 */

/* USER CODE BEGIN 4 */
void vApplicationStackOverflowHook(xTaskHandle xTask, signed char *pcTaskName)
{
   /* Run time stack overflow checking is performed if
   configCHECK_FOR_STACK_OVERFLOW is defined to 1 or 2. This hook function is
   called if a stack overflow is detected. */
     printf("discover stackOverFlow !!!\r\n");
}
/* USER CODE END 4 */

void MX_FREERTOS_Init(void) {

  /* Create the thread(s) */
  /* creation of defaultTask */
  defaultTaskHandle = osThreadNew(StartDefaultTask, NULL, &defaultTask_attributes);

}

void StartDefaultTask(void *argument)
{
  for(;;)
  {
    osDelay(1);
  }
}
